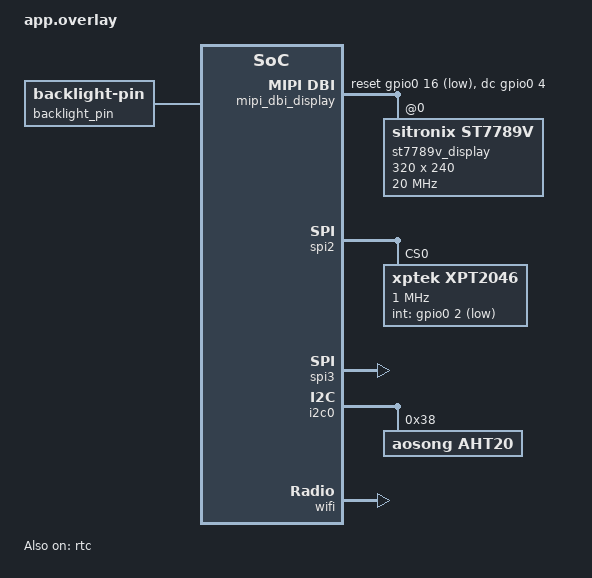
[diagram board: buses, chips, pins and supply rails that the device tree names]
/ {
    chosen {
        zephyr,display = &st7789v_display;
    };

    lvgl_pointer {
        compatible = "zephyr,lvgl-pointer-input";
        input = <&xpt2046>;
        invert-y;
        swap-xy;
    };

    backlight_pin {
        compatible = "backlight-pin";
        backlight_pin: backlight {
            gpios = <&gpio0 17 GPIO_ACTIVE_HIGH>;
            label = "backlight";
        };
    };

    mipi_dbi_display{
        compatible = "zephyr,mipi-dbi-spi";
        spi-dev = <&spi3>;
        dc-gpios = <&gpio0 4 GPIO_ACTIVE_HIGH>;
        reset-gpios = <&gpio0 16 GPIO_ACTIVE_LOW>;
        #address-cells = <1>;
        #size-cells = <0>;

        st7789v_display: st7789v@0 {
            compatible = "sitronix,st7789v";
            mipi-max-frequency = <20000000>;
            reg = <0>;
            width = <320>;
            height = <240>;
            x-offset = <0>;
            y-offset = <0>;
            vcom = <0x2b>;
            gctrl = <0x35>;
            vrhs = <0x0f>;
            vdvs = <0x20>;
            mdac = <0xA0>;
            gamma = <0x01>;
            colmod = <0x55>;
            lcm = <0x2c>;
            porch-param = [0c 0c 00 33 33];
            cmd2en-param = [5a 69 02 01];
            pwctrl1-param = [52 a1];
            pvgam-param = [D0 00 02 07 0B 1A 31 54 40 29 12 12 12 17];
            nvgam-param = [D0 00 02 07 05 15 2D 44 44 1C 18 16 1C 1D];
            ram-param = [00 F8];
            rgb-param = [CD 08 14];
            mipi-mode = <0x02>;
            inversion-off;
        };
    };

    aliases {
        backlight = &backlight_pin;
        rtc = &rtc;
    };
};

&spi2 {
    compatible = "espressif,esp32-spi";
    status = "okay";
    pinctrl-0 = <&spim2_default>;
    xpt2046: xpt2046@0 {
        compatible = "xptek,xpt2046";
        spi-max-frequency = <1000000>;
        reg = <0>;
        int-gpios = <&gpio0 2 GPIO_ACTIVE_LOW>;
        touchscreen-size-x = <240>;
        touchscreen-size-y = <320>;
        min-x = <0>;
        min-y = <0>;
        max-x = <3800>;
        max-y = <3800>;
        reads = <4>;
    };
};

&spi3 {
    compatible = "espressif,esp32-spi";
    status = "okay";
    pinctrl-0 = <&spim3_default>;
};

&i2c0 {
    aht20: aht20@38 {
        compatible = "aosong,aht20";
        reg = <0x38>;
        status = "okay";
    };
};

&wifi {
    status = "okay";
};

&rtc {
    status = "okay";
};

